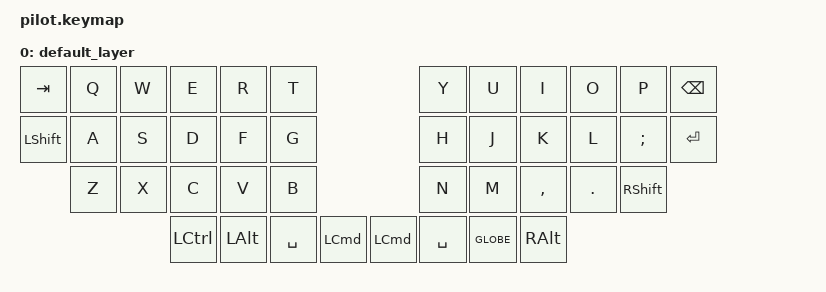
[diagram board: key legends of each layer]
/*
 * Copyright (c) 2020 The ZMK Contributors
 *
 * SPDX-License-Identifier: MIT
 */

#include <behaviors.dtsi>
#include <dt-bindings/zmk/keys.h>
#include <dt-bindings/zmk/bt.h>

/ {
        keymap {
                compatible = "zmk,keymap";

                default_layer {
// -----------------------------------------------------------------------------------------
// |  ESC |  Q  |  W  |  E  |  R   |  T  |                       |  Y  |  U   |  I  |  O  |  P   | BSPC |
// |  TAB |  A  |  S  |  D  |  F   |  G  |                       |  H  |  J   |  K  |  L  |  ;   | ENT  |
//        |  Z  |  X  |  C  |  V   |  B  |                       |  N  |  M   |  ,  |  .  | SHFT | 
//                    | FN  | CTRL | ALT | SPACE |       | SPACE | CMD | ***  | ALT |
                        bindings = <
   &kp TAB      &kp Q &kp W &kp E     &kp R     &kp T                                &kp Y    &kp U  &kp I     &kp O   &kp P    &kp BSPC
   &kp LSHFT    &kp A &kp S &kp D     &kp F     &kp G                                &kp H    &kp J  &kp K     &kp L   &kp SEMI &kp RET
                &kp Z &kp X &kp C     &kp V     &kp B                                &kp N    &kp M  &kp COMMA &kp DOT &kp RSHFT 
                            &kp LCTRL &kp LALT &kp SPACE &kp LCMD         &kp LCMD &kp SPACE &kp GLOBE  &kp RALT
                        >;
                };
        };
};
